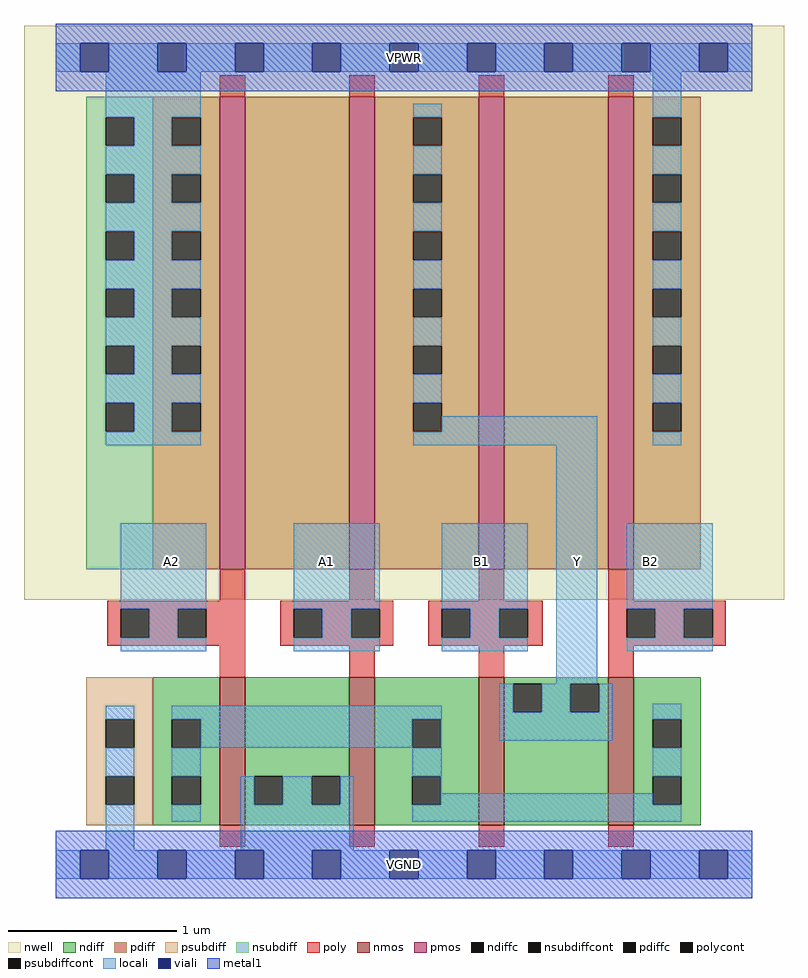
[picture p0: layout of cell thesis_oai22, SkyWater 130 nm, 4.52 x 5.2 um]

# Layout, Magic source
magic
tech sky130A
magscale 1 2
<< nwell >>
rect -38 315 866 998
<< nmos >>
rect 195 47 225 223
rect 349 47 379 223
rect 503 47 533 223
rect 657 47 687 223
<< pmos >>
rect 195 351 225 913
rect 349 351 379 913
rect 503 351 533 913
rect 657 351 687 913
<< ndiff >>
rect 115 173 195 223
rect 115 139 138 173
rect 172 139 195 173
rect 115 105 195 139
rect 115 71 138 105
rect 172 71 195 105
rect 115 47 195 71
rect 225 105 349 223
rect 225 71 236 105
rect 270 71 304 105
rect 338 71 349 105
rect 225 47 349 71
rect 379 173 503 223
rect 379 139 424 173
rect 458 139 503 173
rect 379 105 503 139
rect 379 71 424 105
rect 458 71 503 105
rect 379 47 503 71
rect 533 215 657 223
rect 533 181 544 215
rect 578 181 612 215
rect 646 181 657 215
rect 533 47 657 181
rect 687 173 767 223
rect 687 139 710 173
rect 744 139 767 173
rect 687 105 767 139
rect 687 71 710 105
rect 744 71 767 105
rect 687 47 767 71
<< pdiff >>
rect 115 889 195 913
rect 115 855 138 889
rect 172 855 195 889
rect 115 821 195 855
rect 115 787 138 821
rect 172 787 195 821
rect 115 753 195 787
rect 115 719 138 753
rect 172 719 195 753
rect 115 685 195 719
rect 115 651 138 685
rect 172 651 195 685
rect 115 617 195 651
rect 115 583 138 617
rect 172 583 195 617
rect 115 549 195 583
rect 115 515 138 549
rect 172 515 195 549
rect 115 351 195 515
rect 225 351 349 913
rect 379 889 503 913
rect 379 855 425 889
rect 459 855 503 889
rect 379 821 503 855
rect 379 787 425 821
rect 459 787 503 821
rect 379 753 503 787
rect 379 719 425 753
rect 459 719 503 753
rect 379 685 503 719
rect 379 651 425 685
rect 459 651 503 685
rect 379 617 503 651
rect 379 583 425 617
rect 459 583 503 617
rect 379 549 503 583
rect 379 515 425 549
rect 459 515 503 549
rect 379 351 503 515
rect 533 351 657 913
rect 687 889 767 913
rect 687 855 710 889
rect 744 855 767 889
rect 687 821 767 855
rect 687 787 710 821
rect 744 787 767 821
rect 687 753 767 787
rect 687 719 710 753
rect 744 719 767 753
rect 687 685 767 719
rect 687 651 710 685
rect 744 651 767 685
rect 687 617 767 651
rect 687 583 710 617
rect 744 583 767 617
rect 687 549 767 583
rect 687 515 710 549
rect 744 515 767 549
rect 687 351 767 515
<< ndiffc >>
rect 138 139 172 173
rect 138 71 172 105
rect 236 71 270 105
rect 304 71 338 105
rect 424 139 458 173
rect 424 71 458 105
rect 544 181 578 215
rect 612 181 646 215
rect 710 139 744 173
rect 710 71 744 105
<< pdiffc >>
rect 138 855 172 889
rect 138 787 172 821
rect 138 719 172 753
rect 138 651 172 685
rect 138 583 172 617
rect 138 515 172 549
rect 425 855 459 889
rect 425 787 459 821
rect 425 719 459 753
rect 425 651 459 685
rect 425 583 459 617
rect 425 515 459 549
rect 710 855 744 889
rect 710 787 744 821
rect 710 719 744 753
rect 710 651 744 685
rect 710 583 744 617
rect 710 515 744 549
<< psubdiff >>
rect 36 173 115 223
rect 36 139 59 173
rect 93 139 115 173
rect 36 105 115 139
rect 36 71 59 105
rect 93 71 115 105
rect 36 47 115 71
<< nsubdiff >>
rect 36 889 115 913
rect 36 855 59 889
rect 93 855 115 889
rect 36 821 115 855
rect 36 787 59 821
rect 93 787 115 821
rect 36 753 115 787
rect 36 719 59 753
rect 93 719 115 753
rect 36 685 115 719
rect 36 651 59 685
rect 93 651 115 685
rect 36 617 115 651
rect 36 583 59 617
rect 93 583 115 617
rect 36 549 115 583
rect 36 515 59 549
rect 93 515 115 549
rect 36 351 115 515
<< psubdiffcont >>
rect 59 139 93 173
rect 59 71 93 105
<< nsubdiffcont >>
rect 59 855 93 889
rect 59 787 93 821
rect 59 719 93 753
rect 59 651 93 685
rect 59 583 93 617
rect 59 515 93 549
<< poly >>
rect 195 913 225 939
rect 349 913 379 939
rect 503 913 533 939
rect 657 913 687 939
rect 195 314 225 351
rect 349 314 379 351
rect 503 314 533 351
rect 657 314 687 351
rect 61 304 225 314
rect 61 270 77 304
rect 111 270 145 304
rect 179 270 225 304
rect 61 260 225 270
rect 267 304 401 314
rect 267 270 283 304
rect 317 270 351 304
rect 385 270 401 304
rect 267 260 401 270
rect 443 304 579 314
rect 443 270 459 304
rect 493 270 527 304
rect 561 270 579 304
rect 443 260 579 270
rect 657 304 797 314
rect 657 270 679 304
rect 713 270 747 304
rect 781 270 797 304
rect 657 260 797 270
rect 195 223 225 260
rect 349 223 379 260
rect 503 223 533 260
rect 657 223 687 260
rect 195 21 225 47
rect 349 21 379 47
rect 503 21 533 47
rect 657 21 687 47
<< polycont >>
rect 77 270 111 304
rect 145 270 179 304
rect 283 270 317 304
rect 351 270 385 304
rect 459 270 493 304
rect 527 270 561 304
rect 679 270 713 304
rect 747 270 781 304
<< locali >>
rect 0 943 29 977
rect 63 943 121 977
rect 155 943 213 977
rect 247 943 305 977
rect 339 943 397 977
rect 431 943 489 977
rect 523 943 581 977
rect 615 943 673 977
rect 707 943 765 977
rect 799 943 828 977
rect 59 889 172 943
rect 93 855 138 889
rect 59 821 172 855
rect 93 787 138 821
rect 59 753 172 787
rect 93 719 138 753
rect 59 685 172 719
rect 93 651 138 685
rect 59 617 172 651
rect 93 583 138 617
rect 59 549 172 583
rect 93 515 138 549
rect 59 499 172 515
rect 425 889 459 905
rect 425 821 459 855
rect 425 753 459 787
rect 425 685 459 719
rect 425 617 459 651
rect 425 549 459 583
rect 710 889 744 943
rect 710 821 744 855
rect 710 753 744 787
rect 710 685 744 719
rect 710 617 744 651
rect 710 549 744 583
rect 459 515 644 533
rect 425 499 644 515
rect 710 499 744 515
rect 77 304 179 406
rect 111 270 145 304
rect 77 254 179 270
rect 283 304 385 406
rect 317 270 351 304
rect 283 254 385 270
rect 459 304 561 406
rect 493 270 527 304
rect 459 254 561 270
rect 595 215 644 499
rect 679 304 781 406
rect 713 270 747 304
rect 679 254 781 270
rect 59 173 93 189
rect 59 105 93 139
rect 59 17 93 71
rect 138 173 459 189
rect 172 139 424 173
rect 458 139 459 173
rect 527 181 544 215
rect 578 181 612 215
rect 646 181 662 215
rect 527 147 662 181
rect 710 173 744 191
rect 138 105 172 139
rect 424 105 459 139
rect 138 51 172 71
rect 220 71 236 105
rect 270 71 304 105
rect 338 71 354 105
rect 220 17 354 71
rect 458 85 459 105
rect 710 105 744 139
rect 458 71 710 85
rect 424 51 744 71
rect 0 -17 29 17
rect 63 -17 121 17
rect 155 -17 213 17
rect 247 -17 305 17
rect 339 -17 397 17
rect 431 -17 489 17
rect 523 -17 581 17
rect 615 -17 673 17
rect 707 -17 765 17
rect 799 -17 828 17
<< viali >>
rect 29 943 63 977
rect 121 943 155 977
rect 213 943 247 977
rect 305 943 339 977
rect 397 943 431 977
rect 489 943 523 977
rect 581 943 615 977
rect 673 943 707 977
rect 765 943 799 977
rect 29 -17 63 17
rect 121 -17 155 17
rect 213 -17 247 17
rect 305 -17 339 17
rect 397 -17 431 17
rect 489 -17 523 17
rect 581 -17 615 17
rect 673 -17 707 17
rect 765 -17 799 17
<< metal1 >>
rect 0 977 828 1000
rect 0 943 29 977
rect 63 943 121 977
rect 155 943 213 977
rect 247 943 305 977
rect 339 943 397 977
rect 431 943 489 977
rect 523 943 581 977
rect 615 943 673 977
rect 707 943 765 977
rect 799 943 828 977
rect 0 920 828 943
rect 0 17 828 40
rect 0 -17 29 17
rect 63 -17 121 17
rect 155 -17 213 17
rect 247 -17 305 17
rect 339 -17 397 17
rect 431 -17 489 17
rect 523 -17 581 17
rect 615 -17 673 17
rect 707 -17 765 17
rect 799 -17 828 17
rect 0 -40 828 -17
<< labels >>
flabel locali s 121 343 155 377 0 FreeSans 240 0 0 0 A2
port 0 nsew signal input
flabel locali s 305 343 339 377 0 FreeSans 240 0 0 0 A1
port 1 nsew signal input
flabel locali s 489 343 523 377 0 FreeSans 240 0 0 0 B1
port 2 nsew signal input
flabel locali s 690 343 724 377 0 FreeSans 240 0 0 0 B2
port 3 nsew signal input
flabel metal1 s 397 943 431 977 0 FreeSans 240 0 0 0 VPWR
port 5 nsew power bidirectional
flabel metal1 s 397 -17 431 17 0 FreeSans 240 0 0 0 VGND
port 6 nsew ground bidirectional
flabel locali s 603 343 637 377 0 FreeSans 240 0 0 0 Y
port 4 nsew signal output
<< properties >>
string FIXED_BBOX 0 0 828 960
string LEFclass CORE
string LEForigin 0 0
<< end >>
